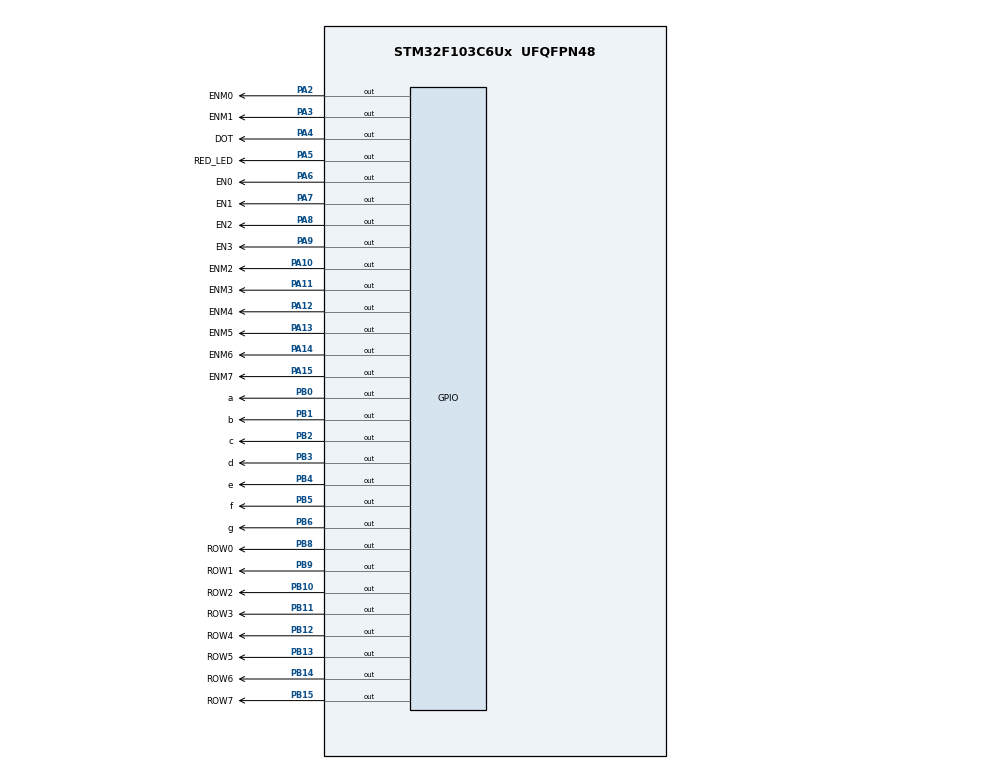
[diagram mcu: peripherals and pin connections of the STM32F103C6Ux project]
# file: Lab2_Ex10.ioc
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Mcu.Family=STM32F1
Mcu.Name=STM32F103C6Ux
Mcu.Package=UFQFPN48
NVIC.PriorityGroup=NVIC_PRIORITYGROUP_4
NVIC.TIM2_IRQn=true\:0\:0\:false\:false\:true\:true\:true
PA10.GPIO_Label=ENM2
PA10.Signal=GPIO_Output
PA11.GPIO_Label=ENM3
PA11.Signal=GPIO_Output
PA12.GPIO_Label=ENM4
PA12.Signal=GPIO_Output
PA13.GPIO_Label=ENM5
PA13.Signal=GPIO_Output
PA14.GPIO_Label=ENM6
PA14.Signal=GPIO_Output
PA15.GPIO_Label=ENM7
PA15.Signal=GPIO_Output
PA2.GPIO_Label=ENM0
PA2.Signal=GPIO_Output
PA3.GPIO_Label=ENM1
PA3.Signal=GPIO_Output
PA4.GPIO_Label=DOT
PA4.Signal=GPIO_Output
PA5.GPIO_Label=RED_LED
PA5.Signal=GPIO_Output
PA6.GPIO_Label=EN0
PA6.Signal=GPIO_Output
PA7.GPIO_Label=EN1
PA7.Signal=GPIO_Output
PA8.GPIO_Label=EN2
PA8.Signal=GPIO_Output
PA9.GPIO_Label=EN3
PA9.Signal=GPIO_Output
PB0.GPIO_Label=a
PB0.Signal=GPIO_Output
PB1.GPIO_Label=b
PB1.Signal=GPIO_Output
PB10.GPIO_Label=ROW2
PB10.Signal=GPIO_Output
PB11.GPIO_Label=ROW3
PB11.Signal=GPIO_Output
PB12.GPIO_Label=ROW4
PB12.Signal=GPIO_Output
PB13.GPIO_Label=ROW5
PB13.Signal=GPIO_Output
PB14.GPIO_Label=ROW6
PB14.Signal=GPIO_Output
PB15.GPIO_Label=ROW7
PB15.Signal=GPIO_Output
PB2.GPIO_Label=c
PB2.Signal=GPIO_Output
PB3.GPIO_Label=d
PB3.Signal=GPIO_Output
PB4.GPIO_Label=e
PB4.Signal=GPIO_Output
PB5.GPIO_Label=f
PB5.Signal=GPIO_Output
PB6.GPIO_Label=g
PB6.Signal=GPIO_Output
PB8.GPIO_Label=ROW0
PB8.Signal=GPIO_Output
PB9.GPIO_Label=ROW1
PB9.Signal=GPIO_Output
ProjectManager.HeapSize=0x200
ProjectManager.StackSize=0x400
ProjectManager.TargetToolchain=STM32CubeIDE
RCC.APB1Freq_Value=8000000
RCC.APB2Freq_Value=8000000
TIM2.Period=9
TIM2.Prescaler=7999
VP_SYS_VS_ND.Mode=No_Debug
VP_TIM2_VS_ClockSourceINT.Mode=Internal
board=custom

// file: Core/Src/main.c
/* USER CODE BEGIN Header */
/**
  ******************************************************************************
  * @file           : main.c
  * @brief          : Main program body
  ******************************************************************************
  * @attention
  *
  * <h2><center>&copy; Copyright (c) 2022 STMicroelectronics.
  * All rights reserved.</center></h2>
  *
  * This software component is licensed by ST under BSD 3-Clause license,
  * the "License"; You may not use this file except in compliance with the
  * License. You may obtain a copy of the License at:
  *                        opensource.org/licenses/BSD-3-Clause
  *
  ******************************************************************************
  */
/* USER CODE END Header */
#include "main.h"

/* USER CODE BEGIN Includes */
#include "software_timer.h"
#include "led_matrix_display.h"
/* USER CODE END Includes */

TIM_HandleTypeDef htim2;

void SystemClock_Config(void);
static void MX_GPIO_Init(void);
static void MX_TIM2_Init(void);

/* USER CODE BEGIN 0 */
void display7SEG(int);
 void update7SEG(int);
 void updateClockBuffer(int ,int);
 const int MAX_LED = 4;
 //int index_led = 0;
 int led_buffer[4] = {0, 0, 0, 0};
 //display number at led_buffer[index]
 void update7SEG(int index){
     switch (index){
         case 0:
             display7SEG(led_buffer[0]);
             break;
         case 1:
         	display7SEG(led_buffer[1]);
             break;
         case 2:
         	display7SEG(led_buffer[2]);
             break;
         case 3:
         	display7SEG(led_buffer[3]);
             break;
         default:
             break;
     }
 }
 void updateClockBuffer(int hour, int minute){
 	led_buffer[0] = hour/10;
 	led_buffer[1] = hour%10;
 	led_buffer[2] = minute/10;
 	led_buffer[3] = minute%10;
 }

/* USER CODE END 0 */

int main(void)
{

  /* MCU Configuration--------------------------------------------------------*/

  /* Reset of all peripherals, Initializes the Flash interface and the Systick. */
  HAL_Init();

  /* Configure the system clock */
  SystemClock_Config();

  /* Initialize all configured peripherals */
  MX_GPIO_Init();
  MX_TIM2_Init();
  /* USER CODE BEGIN 2 */
  HAL_TIM_Base_Start_IT(&htim2);
  /* USER CODE END 2 */

  /* Infinite loop */
  /* USER CODE BEGIN WHILE */
  int hour = 12, minute = 7, second = 3;
  setTimer1(300);		//timer1 control 2 led at DOT and clock
  setTimer2(500);		//timer2 control 4 seven_seg led
  int sevenSegFlag = 1;

  //pick character to display
  //update_buffer('A');
  char *str = "It's not too good, but still be ok!";
  setTimer3(100);
  while (1)
  {
	  display_string(str);
	  display_char();

	  if(timer1_flag==1){
		  //toggle led every second
		  HAL_GPIO_TogglePin(DOT_GPIO_Port, DOT_Pin);

		  //increase clock time every second
		  second++;
		  if (second >= 60){
			  second = 0;
			  minute++;
		  }
		  if(minute >= 60){
			  minute = 0;
			  hour++;
		  }
		  if(hour >=24){
			  hour = 0;
		  }
		  updateClockBuffer(hour, minute);
		  setTimer1(1000);
	  }
	  if(timer2_flag==1){
		  //update the led to display (1<=flag<=4)
		  sevenSegFlag = sevenSegFlag%4+1;
		  //update7SEG take parameter from 0->3
		  //but flag is from 1->4 so we put (flag-1)
		  update7SEG(sevenSegFlag-1);
		  //decide which led is to be displayed
		  switch(sevenSegFlag)
		  {
		  case 1:
			  HAL_GPIO_WritePin(EN0_GPIO_Port, EN0_Pin, GPIO_PIN_RESET);
			  HAL_GPIO_WritePin(EN1_GPIO_Port, EN1_Pin, GPIO_PIN_SET);
			  HAL_GPIO_WritePin(EN2_GPIO_Port, EN2_Pin, GPIO_PIN_SET);
			  HAL_GPIO_WritePin(EN3_GPIO_Port, EN3_Pin, GPIO_PIN_SET);
			  break;
		  case 2:
			  HAL_GPIO_WritePin(EN0_GPIO_Port, EN0_Pin, GPIO_PIN_SET);
			  HAL_GPIO_WritePin(EN1_GPIO_Port, EN1_Pin, GPIO_PIN_RESET);
			  HAL_GPIO_WritePin(EN2_GPIO_Port, EN2_Pin, GPIO_PIN_SET);
			  HAL_GPIO_WritePin(EN3_GPIO_Port, EN3_Pin, GPIO_PIN_SET);
			  break;
		  case 3:
			  HAL_GPIO_WritePin(EN0_GPIO_Port, EN0_Pin, GPIO_PIN_SET);
			  HAL_GPIO_WritePin(EN1_GPIO_Port, EN1_Pin, GPIO_PIN_SET);
			  HAL_GPIO_WritePin(EN2_GPIO_Port, EN2_Pin, GPIO_PIN_RESET);
			  HAL_GPIO_WritePin(EN3_GPIO_Port, EN3_Pin, GPIO_PIN_SET);
			  break;
		  case 4:
			  HAL_GPIO_WritePin(EN0_GPIO_Port, EN0_Pin, GPIO_PIN_SET);
			  HAL_GPIO_WritePin(EN1_GPIO_Port, EN1_Pin, GPIO_PIN_SET);
			  HAL_GPIO_WritePin(EN2_GPIO_Port, EN2_Pin, GPIO_PIN_SET);
			  HAL_GPIO_WritePin(EN3_GPIO_Port, EN3_Pin, GPIO_PIN_RESET);
			  break;
		  }
		  setTimer2(500);
	  }
  }

  /* USER CODE END 3 */
}

void SystemClock_Config(void)
{
  RCC_OscInitTypeDef RCC_OscInitStruct = {0};
  RCC_ClkInitTypeDef RCC_ClkInitStruct = {0};

  /** Initializes the RCC Oscillators according to the specified parameters
  * in the RCC_OscInitTypeDef structure.
  */
  RCC_OscInitStruct.OscillatorType = RCC_OSCILLATORTYPE_HSI;
  RCC_OscInitStruct.HSIState = RCC_HSI_ON;
  RCC_OscInitStruct.HSICalibrationValue = RCC_HSICALIBRATION_DEFAULT;
  RCC_OscInitStruct.PLL.PLLState = RCC_PLL_NONE;
  if (HAL_RCC_OscConfig(&RCC_OscInitStruct) != HAL_OK)
  {
    Error_Handler();
  }
  /** Initializes the CPU, AHB and APB buses clocks
  */
  RCC_ClkInitStruct.ClockType = RCC_CLOCKTYPE_HCLK|RCC_CLOCKTYPE_SYSCLK
                              |RCC_CLOCKTYPE_PCLK1|RCC_CLOCKTYPE_PCLK2;
  RCC_ClkInitStruct.SYSCLKSource = RCC_SYSCLKSOURCE_HSI;
  RCC_ClkInitStruct.AHBCLKDivider = RCC_SYSCLK_DIV1;
  RCC_ClkInitStruct.APB1CLKDivider = RCC_HCLK_DIV1;
  RCC_ClkInitStruct.APB2CLKDivider = RCC_HCLK_DIV1;

  if (HAL_RCC_ClockConfig(&RCC_ClkInitStruct, FLASH_LATENCY_0) != HAL_OK)
  {
    Error_Handler();
  }
}

static void MX_TIM2_Init(void)
{

  TIM_ClockConfigTypeDef sClockSourceConfig = {0};
  TIM_MasterConfigTypeDef sMasterConfig = {0};

  htim2.Instance = TIM2;
  htim2.Init.Prescaler = 7999;
  htim2.Init.CounterMode = TIM_COUNTERMODE_UP;
  htim2.Init.Period = 9;
  htim2.Init.ClockDivision = TIM_CLOCKDIVISION_DIV1;
  htim2.Init.AutoReloadPreload = TIM_AUTORELOAD_PRELOAD_DISABLE;
  if (HAL_TIM_Base_Init(&htim2) != HAL_OK)
  {
    Error_Handler();
  }
  sClockSourceConfig.ClockSource = TIM_CLOCKSOURCE_INTERNAL;
  if (HAL_TIM_ConfigClockSource(&htim2, &sClockSourceConfig) != HAL_OK)
  {
    Error_Handler();
  }
  sMasterConfig.MasterOutputTrigger = TIM_TRGO_RESET;
  sMasterConfig.MasterSlaveMode = TIM_MASTERSLAVEMODE_DISABLE;
  if (HAL_TIMEx_MasterConfigSynchronization(&htim2, &sMasterConfig) != HAL_OK)
  {
    Error_Handler();
  }

}

static void MX_GPIO_Init(void)
{
  GPIO_InitTypeDef GPIO_InitStruct = {0};

  /* GPIO Ports Clock Enable */
  __HAL_RCC_GPIOA_CLK_ENABLE();
  __HAL_RCC_GPIOB_CLK_ENABLE();

  /*Configure GPIO pin Output Level */
  HAL_GPIO_WritePin(GPIOA, ENM0_Pin|ENM1_Pin|DOT_Pin|RED_LED_Pin
                          |EN0_Pin|EN1_Pin|EN2_Pin|EN3_Pin
                          |ENM2_Pin|ENM3_Pin|ENM4_Pin|ENM5_Pin
                          |ENM6_Pin|ENM7_Pin, GPIO_PIN_RESET);

  /*Configure GPIO pin Output Level */
  HAL_GPIO_WritePin(GPIOB, a_Pin|b_Pin|c_Pin|ROW2_Pin
                          |ROW3_Pin|ROW4_Pin|ROW5_Pin|ROW6_Pin
                          |ROW7_Pin|d_Pin|e_Pin|f_Pin
                          |g_Pin|ROW0_Pin|ROW1_Pin, GPIO_PIN_RESET);

  /*Configure GPIO pins : ENM0_Pin ENM1_Pin DOT_Pin RED_LED_Pin
                           EN0_Pin EN1_Pin EN2_Pin EN3_Pin
                           ENM2_Pin ENM3_Pin ENM4_Pin ENM5_Pin
                           ENM6_Pin ENM7_Pin */
  GPIO_InitStruct.Pin = ENM0_Pin|ENM1_Pin|DOT_Pin|RED_LED_Pin
                          |EN0_Pin|EN1_Pin|EN2_Pin|EN3_Pin
                          |ENM2_Pin|ENM3_Pin|ENM4_Pin|ENM5_Pin
                          |ENM6_Pin|ENM7_Pin;
  GPIO_InitStruct.Mode = GPIO_MODE_OUTPUT_PP;
  GPIO_InitStruct.Pull = GPIO_NOPULL;
  GPIO_InitStruct.Speed = GPIO_SPEED_FREQ_LOW;
  HAL_GPIO_Init(GPIOA, &GPIO_InitStruct);

  /*Configure GPIO pins : a_Pin b_Pin c_Pin ROW2_Pin
                           ROW3_Pin ROW4_Pin ROW5_Pin ROW6_Pin
                           ROW7_Pin d_Pin e_Pin f_Pin
                           g_Pin ROW0_Pin ROW1_Pin */
  GPIO_InitStruct.Pin = a_Pin|b_Pin|c_Pin|ROW2_Pin
                          |ROW3_Pin|ROW4_Pin|ROW5_Pin|ROW6_Pin
                          |ROW7_Pin|d_Pin|e_Pin|f_Pin
                          |g_Pin|ROW0_Pin|ROW1_Pin;
  GPIO_InitStruct.Mode = GPIO_MODE_OUTPUT_PP;
  GPIO_InitStruct.Pull = GPIO_NOPULL;
  GPIO_InitStruct.Speed = GPIO_SPEED_FREQ_LOW;
  HAL_GPIO_Init(GPIOB, &GPIO_InitStruct);

}

/* USER CODE BEGIN 4 */
int count= 0;
void HAL_TIM_PeriodElapsedCallback(TIM_HandleTypeDef *htim){
	timerRun();
}

void display7SEG(int num)
{
	if(num==0 || num==2 || num==3 || num==5 || num==6
			|| num==7 || num==8 || num==9){
		HAL_GPIO_WritePin(a_GPIO_Port, a_Pin, GPIO_PIN_RESET);
	}
	else HAL_GPIO_WritePin(a_GPIO_Port, a_Pin, GPIO_PIN_SET);

	if(num==0 || num==1 || num==2 || num==3 || num==4
		|| num==7 || num==8 || num==9){
		HAL_GPIO_WritePin(b_GPIO_Port, b_Pin, GPIO_PIN_RESET);
	}
	else HAL_GPIO_WritePin(b_GPIO_Port, b_Pin, GPIO_PIN_SET);

	if(num==0 || num==1 || num==3 || num==4 || num==5 || num==6
			|| num==7 || num==8 || num==9){
		HAL_GPIO_WritePin(c_GPIO_Port, c_Pin, GPIO_PIN_RESET);
	}
	else HAL_GPIO_WritePin(c_GPIO_Port, c_Pin, GPIO_PIN_SET);

	if(num==0 || num==2 || num==3 || num==5 || num==6 || num==8 ||num==9){
		HAL_GPIO_WritePin(d_GPIO_Port, d_Pin, GPIO_PIN_RESET);
	}
	else HAL_GPIO_WritePin(d_GPIO_Port, d_Pin, GPIO_PIN_SET);

	if(num==0 || num==2 || num==6 || num==8){
		HAL_GPIO_WritePin(e_GPIO_Port, e_Pin, GPIO_PIN_RESET);
	}
	else HAL_GPIO_WritePin(e_GPIO_Port, e_Pin, GPIO_PIN_SET);

	if(num==0 || num==4 || num==5 || num==6 || num==8 ||num==9){
		HAL_GPIO_WritePin(f_GPIO_Port, f_Pin, GPIO_PIN_RESET);
	}
	else HAL_GPIO_WritePin(f_GPIO_Port, f_Pin, GPIO_PIN_SET);

	if(num==2 || num==3 || num==4 || num==5 || num==6 || num==8 || num==9){
		HAL_GPIO_WritePin(g_GPIO_Port, g_Pin, GPIO_PIN_RESET);
	}
	else HAL_GPIO_WritePin(g_GPIO_Port, g_Pin, GPIO_PIN_SET);

}
/* USER CODE END 4 */

void Error_Handler(void)
{
  __disable_irq();
  while (1)
  {
  }
}

/************************ (C) COPYRIGHT STMicroelectronics *****END OF FILE****/
